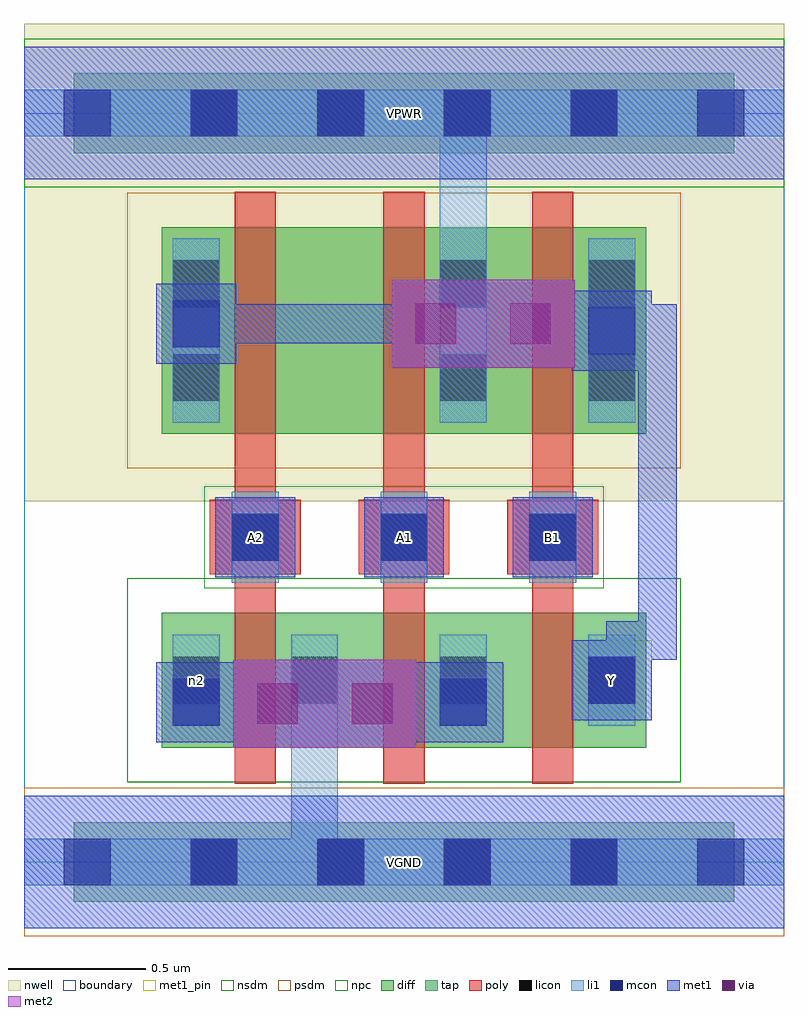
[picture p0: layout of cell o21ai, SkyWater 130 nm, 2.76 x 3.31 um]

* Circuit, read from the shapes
.subckt o21ai A1 A2 B1 VGND VPWR Y n2
XM1 VGND A2 n2 VGND sky130_fd_pr__nfet_01v8 w=0.49 l=0.15
XM2 n2 A1 VGND VGND sky130_fd_pr__nfet_01v8 w=0.49 l=0.15
XM3 Y B1 n2 VGND sky130_fd_pr__nfet_01v8 w=0.49 l=0.15
XM4 n1 A2 Y VPWR sky130_fd_pr__pfet_01v8 w=0.75 l=0.15
XM5 VPWR A1 n1 VPWR sky130_fd_pr__pfet_01v8 w=0.75 l=0.15
XM6 Y B1 VPWR VPWR sky130_fd_pr__pfet_01v8 w=0.75 l=0.15
.ends

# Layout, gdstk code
import gdstk
lib = gdstk.Library(unit=1e-6, precision=1e-09)
def R(c, l, rs):  # rectangles x0, y0, x1, y1
    for r in rs: c.add(gdstk.rectangle(r[:2], r[2:], *l))
def A(c, l, x, y, w, h, nx, ny, dx, dy):  # array of equal rectangles
    R(c, l, [(x+i*dx, y+j*dy, x+i*dx+w, y+j*dy+h) for i in range(nx) for j in range(ny)])
nwell = (64, 20)
diff = (65, 20)
tap = (65, 44)
poly = (66, 20)
licon = (66, 44)
li1 = (67, 20)
mcon = (67, 44)
met1_pin = (68, 16)
met1 = (68, 20)
via = (68, 44)
met2 = (69, 20)
nsdm = (93, 44)
psdm = (94, 20)
npc = (95, 20)
boundary = (235, 4)

o21ai = lib.new_cell('o21ai')
R(o21ai, nwell, [(0,1.31,2.76,3.045)])
R(o21ai, diff, [(0.5,0.415,2.26,0.905), (0.5,1.555,2.26,2.305)])
R(o21ai, tap, [(0.18,-0.145,2.58,0.145), (0.18,2.575,2.58,2.865)])
A(o21ai, poly, 0.765, 0.285, 0.15, 2.15, 3, 1, 0.54, 0)
A(o21ai, poly, 0.675, 1.045, 0.33, 0.27, 3, 1, 0.54, 0)
A(o21ai, licon, 0.605, -0.085, 0.17, 0.17, 4, 2, 0.46, 2.72)
A(o21ai, licon, 0.97, 0.575, 0.17, 0.17, 3, 1, 0.54, 0)
A(o21ai, licon, 0.755, 1.095, 0.17, 0.17, 3, 1, 0.54, 0)
R(o21ai, licon, [(0.54,0.575,0.71,0.745), (0.54,1.675,0.71,1.845), (1.51,1.675,1.68,1.845), (2.05,1.675,2.22,1.845), (0.54,2.015,0.71,2.185), (1.51,2.015,1.68,2.185), (2.05,2.015,2.22,2.185)])
A(o21ai, li1, 0.97, 0.495, 0.17, 0.33, 3, 1, 0.54, 0)
A(o21ai, li1, 0.755, 1.015, 0.17, 0.33, 3, 1, 0.54, 0)
R(o21ai, li1, [(0,-0.085,2.76,0.085), (0.97,-0.085,1.14,0.825), (0.54,0.495,0.71,0.825), (0.54,1.595,0.71,2.265), (1.51,1.595,1.68,2.265), (1.51,1.595,1.68,2.805), (2.05,1.595,2.22,2.265), (0,2.635,2.76,2.805)])
A(o21ai, mcon, 0.145, -0.085, 0.17, 0.17, 6, 2, 0.46, 2.72)
A(o21ai, mcon, 0.755, 1.095, 0.17, 0.17, 3, 1, 0.54, 0)
R(o21ai, mcon, [(0.54,0.495,0.71,0.665), (1.51,0.495,1.68,0.665), (2.05,0.575,2.22,0.745), (2.05,1.845,2.22,2.015), (0.54,1.87,0.71,2.04)])
A(o21ai, met1_pin, 0.695, 1.035, 0.29, 0.29, 3, 1, 0.54, 0)
R(o21ai, met1_pin, [(0,-0.24,2.76,0.24), (1.99,0.515,2.28,0.805), (0,2.48,2.76,2.96)])
A(o21ai, met1, 0.695, 1.035, 0.29, 0.29, 3, 1, 0.54, 0)
R(o21ai, met1, [(0,-0.24,2.76,0.24), (0.76,0.415,1.08,0.735), (1.08,0.415,1.105,0.735), (1.105,0.415,1.425,0.735), (0.48,0.435,0.77,0.725), (1.425,0.435,1.45,0.725), (1.45,0.435,1.74,0.725), (0.735,0.505,0.875,0.65), (0.735,0.505,0.99,0.645), (0.99,0.505,1.105,0.645), (1.08,0.505,1.195,0.645), (1.195,0.505,1.565,0.645), (1.425,0.505,1.565,0.65), (0.555,0.51,0.875,0.65), (1.425,0.51,1.665,0.65), (1.99,0.515,2.28,0.805), (2.115,0.62,2.255,0.76), (2.115,0.62,2.255,0.875), (2.115,0.735,2.37,0.875), (2.23,0.735,2.37,2.025), (1.99,1.785,2.28,2.075), (1.335,1.795,1.655,2.115), (1.655,1.795,1.68,2.115), (1.68,1.795,2,2.115), (0.48,1.81,0.77,2.1), (0.555,1.885,0.875,2.025), (0.735,1.885,1.565,2.025), (1.565,1.885,1.68,2.025), (1.655,1.885,1.77,2.025), (1.77,1.885,2.255,2.025), (2.115,1.885,2.37,2.025), (2.115,1.885,2.255,2.025), (0,2.48,2.76,2.96)])
R(o21ai, via, [(0.845,0.5,0.995,0.65), (1.19,0.5,1.34,0.65), (1.42,1.88,1.57,2.03), (1.765,1.88,1.915,2.03)])
R(o21ai, met2, [(0.76,0.415,1.08,0.735), (1.08,0.415,1.105,0.735), (1.105,0.415,1.425,0.735), (0.85,0.505,1.335,0.645), (1.335,1.795,1.655,2.115), (1.655,1.795,1.68,2.115), (1.68,1.795,2,2.115), (1.425,1.885,1.91,2.025)])
R(o21ai, nsdm, [(0.375,0.29,2.385,1.03), (0,2.45,2.76,2.99)])
R(o21ai, psdm, [(0,-0.27,2.76,0.27), (0.375,1.43,2.385,2.43)])
R(o21ai, npc, [(0.655,0.995,2.105,1.365)])
R(o21ai, boundary, [(0,0,2.76,2.72)])
o21ai.add(gdstk.Label('n2', (0.625,0.66), layer=67, texttype=5))
o21ai.add(gdstk.Label('A1', (1.38,1.18), layer=68, texttype=5))
o21ai.add(gdstk.Label('A2', (0.84,1.18), layer=68, texttype=5))
o21ai.add(gdstk.Label('B1', (1.92,1.18), layer=68, texttype=5))
o21ai.add(gdstk.Label('Y', (2.135,0.66), layer=68, texttype=5))
o21ai.add(gdstk.Label('VPWR', (1.38,2.72), layer=68, texttype=5))
o21ai.add(gdstk.Label('VGND', (1.38,0), layer=68, texttype=5))
o21ai.add(gdstk.Label('A1', (1.38,1.18), layer=68, texttype=16))
o21ai.add(gdstk.Label('A2', (0.84,1.18), layer=68, texttype=16))
o21ai.add(gdstk.Label('B1', (1.92,1.18), layer=68, texttype=16))
o21ai.add(gdstk.Label('Y', (2.135,0.66), layer=68, texttype=16))
o21ai.add(gdstk.Label('VPWR', (1.38,2.72), layer=68, texttype=16))
o21ai.add(gdstk.Label('VGND', (1.38,0), layer=68, texttype=16))

lib.write_gds('o21ai.gds')
